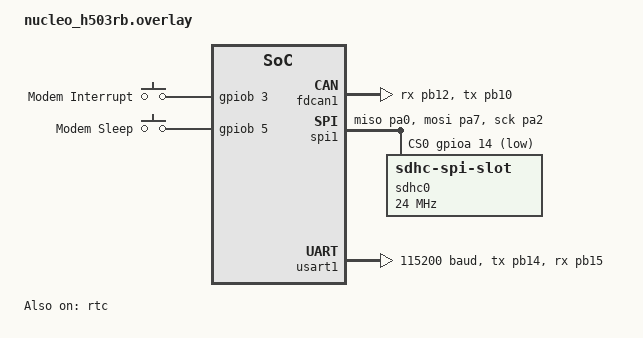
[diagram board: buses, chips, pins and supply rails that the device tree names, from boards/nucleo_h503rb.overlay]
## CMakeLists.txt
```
cmake_minimum_required(VERSION 3.20.0)

set(BOARD nucleo_h503rb)
set(CMAKE_EXPORT_COMPILE_COMMANDS TRUE)
set(CMAKE_C_STANDARD 11)

option(MC_LTO "Enable LTO for the main application" ON)
set(MC_ControllerName "MC_1" CACHE STRING "Controller Name")
set(MC_ServerAddress "tcp://94.130.24.30:1883" CACHE STRING "Remote server address")

find_package(Zephyr)
project(MasterController)
set_property(TARGET app PROPERTY C_STANDARD 23)

# NanoPB for protobuf code generation
list(APPEND CMAKE_MODULE_PATH ${ZEPHYR_BASE}/modules/nanopb)
include(nanopb)

if(MC_LTO)
	set_property(TARGET app PROPERTY INTERPROCEDURAL_OPTIMIZATION TRUE)
endif()

# Compile protobuf into C headers
zephyr_nanopb_sources(app ./Protobuf-FYP/proto/data.proto)
zephyr_nanopb_sources(app ./Protobuf-FYP/proto/timestamp.proto)

target_include_directories(app PRIVATE
	./include/
	./include/upload_thread/
)

# Add defines for variable defined by CMake
target_compile_definitions(app PRIVATE CONTROLLER_NAME="${MC_ControllerName}")
target_compile_definitions(app PRIVATE SERVER_ADDR="${MC_ServerAddress}")

target_sources(app PRIVATE 
		    src/main.c
			  src/main_state.c
			  src/file_op.c
			  src/can.c
			  src/save_data_thread.c
			  src/message.c
			  src/sim7600_driver.c
			  src/upload_thread/upload_thread.c
			  src/upload_thread/upload_state.c
)
```

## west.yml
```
manifest:
  remotes:
    - name: zephyrproject-rtos
      url-base: https://github.com/zephyrproject-rtos
    - name: nanopb
      url-base: https://github.com/nanopb
    - name: private
      url-base: https://github.com/seasea128
  projects:
    - name: zephyr
      remote: zephyrproject-rtos
      revision: v4.0.0
      import:
        name-allowlist:
          - cmsis
          - hal_stm32
          - fatfs
    - name: nanopb
      remote: nanopb
      revision: 0.4.9.1
      path: modules/lib/nanopb
    - name: Protobuf-FYP
      remote: private
      path: MasterController/Protobuf-FYP
  self:
    path: MasterController
```

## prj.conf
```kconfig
# Peripherals
CONFIG_SPI=y
CONFIG_GPIO=y
CONFIG_FILE_SYSTEM=y
CONFIG_CAN=y
CONFIG_ARM_MPU=y
CONFIG_FPU=y
CONFIG_CONSOLE=y
CONFIG_SERIAL=y
CONFIG_UART_INTERRUPT_DRIVEN=y
CONFIG_RTC=y
CONFIG_RTC_LOG_LEVEL_DBG=y

# Stack protection
CONFIG_HW_STACK_PROTECTION=y

# Filesystem driver settings
CONFIG_FAT_FILESYSTEM_ELM=y
# CONFIG_MAIN_STACK_SIZE=2048
CONFIG_MAIN_STACK_SIZE=8192
CONFIG_DISK_ACCESS=y
#CONFIG_DISK_DRIVER_SDMMC=y

# 4G modem settings
CONFIG_NANOPB=y
CONFIG_BASE64=y
CONFIG_MODEM_MODULES=n
CONFIG_MODEM=n
CONFIG_MODEM_BACKEND_UART=n
CONFIG_MODEM_CHAT=n

# FDCAN settings
CONFIG_CAN_DEFAULT_BITRATE=500000
CONFIG_CAN_FD_MODE=n
#CONFIG_CAN_INIT_PRIORITY=80
#CONFIG_CAN_DEFAULT_BITRATE_DATA=1000000
#CONFIG_CAN_DEFAULT_BITRATE_DATA=0
#CONFIG_CAN_TRANSCEIVER_INIT_PRIORITY=45

# Experimental settings
CONFIG_TIMESLICING=y
CONFIG_TIMESLICE_SIZE=2
CONFIG_TIMESLICE_PRIORITY=0

# Logging
CONFIG_LOG=y
CONFIG_LOG_MODE_DEFERRED=n
CONFIG_LOG_MODE_IMMEDIATE=y
CONFIG_LOG_SIMPLE_MSG_OPTIMIZE=y
CONFIG_LOG_DEFAULT_LEVEL=3
CONFIG_LOG_BACKEND_SHOW_COLOR=n
CONFIG_LOG_INFO_COLOR_GREEN=n
CONFIG_LOG_DBG_COLOR_BLUE=n
CONFIG_LOG_OUTPUT_FORMAT_ISO8601_TIMESTAMP=n
#CONFIG_LOG_PROCESS_THREAD=y       # Enable log processing thread
#CONFIG_LOG_PROCESS_THREAD_STACK_SIZE=4096
#CONFIG_LOG_PROCESS_THREAD_PRIORITY=3
# CONFIG_UART_CONSOLE=y

# LTO settings (Reduce flash usage)
CONFIG_ISR_TABLES_LOCAL_DECLARATION=y
CONFIG_LTO=y

# Debugging config
CONFIG_STACK_USAGE=y
CONFIG_THREAD_NAME=y
CONFIG_STACK_SENTINEL=y
CONFIG_THREAD_STACK_INFO=y
CONFIG_THREAD_ANALYZER=y
CONFIG_LOG_MODE_MINIMAL=n
CONFIG_THREAD_ANALYZER_AUTO=y
CONFIG_THREAD_ANALYZER_AUTO_INTERVAL=10
# CONFIG_THREAD_ANALYZER_USE_LOG=y
```

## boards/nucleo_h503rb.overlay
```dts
/{
	chosen {
		zephyr,canbus = &fdcan1;
	};

	gpio_4g_modem {
		compatible = "gpio-keys";
		modem_interrupt: interrupt {
			gpios = <&gpiob 3 GPIO_ACTIVE_HIGH>;
			label = "Modem Interrupt";
		};
		modem_sleep: sleep {
			gpios = <&gpiob 5 GPIO_ACTIVE_HIGH>;
			label = "Modem Sleep";
		};
	};

	aliases {
		modem-interrupt = &modem_interrupt;
		modem-sleep = &modem_sleep;
		modem = &usart1;
		rtc = &rtc;
	};
};

&fdcan1 {
	pinctrl-0 = <&fdcan1_rx_pb12 &fdcan1_tx_pb10>;
	pinctrl-names = "default";
	status = "okay";
};

&spi1 {
	cs-gpios = <&gpioa 14 GPIO_ACTIVE_LOW>;
	pinctrl-0 = <&spi1_miso_pa0 &spi1_mosi_pa7 &spi1_sck_pa2>;
	pinctrl-names = "default";
	status = "okay";

	sdhc0: sdhc@0 {
		status = "okay";
		compatible = "zephyr,sdhc-spi-slot";
		reg = <0>;
		mmc {
			compatible = "zephyr,sdmmc-disk";
			disk-name = "SD";
			status = "okay";
		};
		spi-max-frequency = <24000000>;
	};
};

&clk_lsi {
	status = "okay";
};

&rtc {
	clocks = <&rcc STM32_CLOCK_BUS_APB3 0x200000>,
		 <&rcc STM32_SRC_LSI RTC_SEL(2)>;
	status = "okay";

	backup_regs {
		status = "okay";
	};
};

&pll {
	div-q = <5>;
};

// USART3 is already used for virtual serial via USB
&usart1 {
	pinctrl-0 = <&usart1_tx_pb14 &usart1_rx_pb15>;
	pinctrl-names = "default";
	fifo-enable;
	current-speed = <115200>;
	status = "okay";

	// Custom driver needed for SIM7600G?
	// modem: modem {
	// 	compatible = "simcom,sim7080";
	// 	mdm-power-gpios = <&gpiob 2 GPIO_ACTIVE_HIGH>;
	// 	status = "okay";

	// };
};
```

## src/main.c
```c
#include "Protobuf-FYP/proto/data.pb.h"
#include "main_state.h"
#include "upload_thread/upload_thread.h"
#include <can.h>
#include <ff.h>
#include <file_op.h>
#include <message.h>
#include <save_data_thread.h>
#include <sim7600_at_cmd.h>
#include <sim7600_driver.h>
#include <zephyr/device.h>
#include <zephyr/drivers/can.h>
#include <zephyr/drivers/gpio.h>
#include <zephyr/drivers/rtc.h>
#include <zephyr/fs/fs.h>
#include <zephyr/kernel.h>
#include <zephyr/logging/log.h>
#include <zephyr/logging/log_ctrl.h>
#include <zephyr/sd/sd_spec.h>
#include <zephyr/storage/disk_access.h>
#include <zephyr/sys/util.h>

LOG_MODULE_REGISTER(main, CONFIG_LOG_DEFAULT_LEVEL);

struct k_fifo save_data_fifo;

// CAN setup
CAN_MSGQ_DEFINE(distance_msgq, 400);
const struct device *const can_dev = DEVICE_DT_GET(DT_CHOSEN(zephyr_canbus));

const struct device *const rtc = DEVICE_DT_GET(DT_ALIAS(rtc));

static struct gpio_dt_spec button_gpio =
    GPIO_DT_SPEC_GET_OR(DT_ALIAS(sw0), gpios, {0});

void set_rtc_from_modem() {
    char resp[256] = {0};
    {
        char CNTP[128] = {0};
        snprintf(CNTP, sizeof(CNTP), AT_CNTP_SET, "pool.ntp.org");

        int ret = sim7600_send_at(CNTP, strlen(CNTP), resp, sizeof(resp),
                                  sim7600_resp_normal);
        if (ret != SIM7600_OK) {
            LOG_ERR("Cannot send AT_CNTP_SET: %d", ret);
            return;
        }
        LOG_INF("CNTP set response: %s", resp);
    }

    int ret = sim7600_send_at(AT_CNTP, sizeof(AT_CNTP), resp, sizeof(resp),
                              sim7600_resp_after_status);
    if (ret != SIM7600_OK) {
        LOG_ERR("Cannot send AT_CNTP: %d", ret);
        return;
    }
    LOG_INF("CNTP response: %s", resp);

    ret = sim7600_send_at(AT_CCLK, sizeof(AT_CCLK), resp, sizeof(resp),
                          sim7600_resp_normal);
    if (ret != SIM7600_OK) {
        LOG_ERR("Cannot send AT_CCLK: %d", ret);
        return;
    }

    if (strstr(resp, "OK") != NULL) {
        // OK is in string
        struct rtc_time new_time;
        memset(&new_time, 0, sizeof(struct rtc_time));

        // +CCLK: “08/11/28,12:30:35+32”
        // OK
        int timezone = 0;
        sscanf(resp, "+CCLK: \"%d/%d/%d,%d:%d:%d+%d\"OK", &new_time.tm_year,
               &new_time.tm_mon, &new_time.tm_mday, &new_time.tm_hour,
               &new_time.tm_min, &new_time.tm_sec, &timezone);

        new_time.tm_year += 2000 - 1900;
        new_time.tm_mon -= 1;
        ret = rtc_set_time(rtc, &new_time);
        LOG_INF("Set time success: %s, %d", resp, ret);
    } else {
        LOG_ERR("Cannot get current time from modem: %s, %d", resp, ret);
        return;
    }
}

int main(void) {
    LOG_INF("Initializing");
    int ret;
    main_state state;

    k_fifo_init(&save_data_fifo);

    // Initializing GPIO button on board
    ret = gpio_pin_configure_dt(&button_gpio, GPIO_INPUT);
    if (ret != 0) {
        LOG_ERR("Error %d: failed to configure %s pin %d", ret,
                button_gpio.port->name, button_gpio.pin);
        return 0;
    }

    LOG_INF("Initializing SIM7600");

    ret = sim7600_init(SERVER_ADDR, sizeof(SERVER_ADDR));
    if (ret != SIM7600_OK) {
        LOG_ERR("Error %d: Cannot initialize SIM7600", ret);
        return ret;
    }

    LOG_INF("Initialized SIM7600");

    // Initializing FDCAN
    ret = can_init(&distance_msgq, can_dev);
    if (ret != 0) {
        LOG_ERR("Error %d: failed to initialize CAN", ret);
        return 0;
    }
    LOG_INF("Initialized CAN");

    main_state_init(&state, &distance_msgq, NULL);
    LOG_INF("Initialized main_state");

    if (!device_is_ready(rtc)) {
        LOG_INF("RTC is not ready");
    }

    set_rtc_from_modem();

#ifdef RTC_TEST
    k_sleep(K_MSEC(4834));

    struct rtc_time tm;
    ret = rtc_get_time(rtc, &tm);
    if (ret < 0) {
        LOG_ERR("Cannot get time from RTC: %d", ret);
    } else {
        LOG_INF("RTC date and time: %04d-%02d-%02d %02d:%02d:%02d.%05d",
                tm.tm_year + 1900, tm.tm_mon + 1, tm.tm_mday, tm.tm_hour,
                tm.tm_min, tm.tm_sec, tm.tm_nsec);
    }
#endif

    LOG_INF("Button port: %s pin: %d", button_gpio.port->name, button_gpio.pin);

    bool button_state = false;

    // Use onboard button to exit loop so that the filesystem can be
    // unmounted for data safety.
    while (!button_state) {
        // Get button state
        button_state = gpio_pin_get_dt(&button_gpio);

        main_state_execute(&state);
    }

    file_op_unmount_disk();
    LOG_INF("Shutting down sim7600");
    sim7600_close();
    LOG_INF("Done shutting down sim7600");
}
```

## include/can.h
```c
#include "zephyr/device.h"
#include "zephyr/kernel.h"

int can_init(struct k_msgq *message_queue, const struct device *can_def);
```

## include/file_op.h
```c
#ifndef FILE_OP_H_
#define FILE_OP_H_
#include "zephyr/fs/fs.h"
#include <ff.h>

int file_op_open_file(struct fs_file_t *file, char *file_name, fs_mode_t flags);

int file_op_get_count_in_dir(char *path, int *file_count);

int file_op_mount_disk();

int file_op_close_file(struct fs_file_t *file);

int file_op_write(char *str, size_t str_size);

int file_op_unmount_disk();

#endif // FILE_OP_H_
```

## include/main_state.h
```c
#ifndef MAIN_STATE_H_
#define MAIN_STATE_H_
#include "Protobuf-FYP/proto/data.pb.h"
#include "upload_state.h"
#include <zephyr/drivers/can.h>
#include <zephyr/fs/fs.h>

enum main_state {
    MAIN_STATE_DISK_UNMOUNTED = 0,
    MAIN_STATE_DISK_MOUNTED,
    MAIN_STATE_NEW_SESSION,
    MAIN_STATE_RECORD_DATA,
};

typedef struct main_state_s {
    controllerMessage_DataPoints dataPoints;
    controllerMessage_Measurement measurement;
    upload_state upload;
    struct can_frame can_message;
    struct fs_file_t file;
    struct k_msgq *can_msgq;
    struct k_msgq *upload_msgq;
    enum main_state state;
    uint16_t session_id;
    size_t upload_data_offset;
} main_state;

void main_state_init(main_state *state, struct k_msgq *can_msgq,
                     struct k_msgq *upload_msgq);
void main_state_execute(main_state *state);

#endif // MAIN_STATE_H_
```

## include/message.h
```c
#include "Protobuf-FYP/proto/data.pb.h"
#include <stdint.h>

typedef enum message_type_e {
    message_undefined = 0,
    message_measurement = 1,
    message_new_session = 2,
} message_type;

typedef struct {
    void *reserved;
    message_type msg_type;
    union {
        controllerMessage_Measurement measurement;
        int32_t session_id;
    } data;
} message;

message message_init();
```

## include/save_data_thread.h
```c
#ifndef SAVE_DATA_THREAD
#define SAVE_DATA_THREAD
#include "Protobuf-FYP/proto/data.pb.h"
#include <zephyr/fs/fs.h>
#include <zephyr/kernel.h>

void save_data_thread();

void write_data_points(controllerMessage_DataPoints *dataPoints,
                       struct fs_file_t *file, struct k_msgq *output_msgq);

void write_session(controllerMessage_Session *session, struct fs_file_t *file,
                   struct k_msgq *output_msgq);

#endif
```

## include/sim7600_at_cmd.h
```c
#ifndef SIM7600_AT_CMD_H_
#define SIM7600_AT_CMD_H_

// Init Commands
#define AT_CPIN "AT+CPIN?\r"
#define ATE "ATE0\r"

// Time Command
#define AT_CCLK "AT+CCLK?\r"
#define AT_CNTP_SET "AT+CNTP=\"%s\",0\r"
#define AT_CNTP "AT+CNTP\r"

// MQTT Commands
#define AT_MQTTSTART "AT+CMQTTSTART\r"
#define AT_MQTTACCQ "AT+CMQTTACCQ=%d, \"%.*s\"\r"
#define AT_MQTTWILLTOPIC                                                       \
    "AT+CMQTTWILLTOPIC=%d,%d\r" // Client index, length of topic
                                // Topic name on next line
#define AT_MQTTWILLMSG                                                         \
    "AT+CMQTTWILLMSG=%d,%d,%d\r" // Client index, length of topic, qos
                                 // Will messgae on next line

#define AT_MQTTCONNECT                                                         \
    "AT+CMQTTCONNECT=%d, \"%.*s\", %d, %d\r" // client index, server address,
                                             // keepalive, clean session
// Probably need username/password on
// the command or mTLS

#define AT_MQTTSUB                                                             \
    "AT+CMQTTSUB=%d,%d,%d\r" // Client index, length of topic, qos
                             // Topic to be subscribed on next line
#define AT_MQTTTOPIC "AT+CMQTTTOPIC=%d,%d\r" // Client index, length of topic
// Topic to be published on next line

#define AT_MQTTPAYLOAD                                                         \
    "AT+CMQTTPAYLOAD=%d,%d\r" // Client index, length of topic
                              // Topic to be published on next line

#define AT_MQTTPUB "AT+CMQTTPUB=%d,%d,%d\r" // Client index, qos, timeout

// Stop Commands
#define AT_MQTTDIS "AT+CMQTTDISC=%d,%d\r" // Client index, timeout
#define AT_MQTTREL "AT+CMQTTREL=%d\r"     // Client indes
#define AT_MQTTSTOP "AT+CMQTTSTOP\r"

#endif // SIM7600_AT_CMD_H_
```

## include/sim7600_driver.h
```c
#ifndef SIM7600_DRIVER_H_
#define SIM7600_DRIVER_H_
#include <stdbool.h>
#include <stddef.h>
#include <stdint.h>

#define BUFFER_SIZE 256

typedef enum SIM7600_RESULT_E {
    SIM7600_OK,
    SIM7600_INIT_ERROR,
    SIM7600_RX_TIMEOUT,
    SIM7600_RESP_NULL,
    SIM7600_NO_NEW_DATA,
    SIM7600_OK_DETECTED,
    SIM7600_RESP_TYPE_UNDEFINED
} SIM7600_RESULT;

typedef struct sim7600_msgq_item_s {
    char msg[BUFFER_SIZE];
} sim7600_msgq_item;

typedef enum sim7600_resp_type_e {
    sim7600_resp_undefined = 0,
    sim7600_resp_normal = 1,
    sim7600_resp_after_status = 2,
    sim7600_resp_no_parse = 3
} sim7600_resp_type;

SIM7600_RESULT sim7600_send_at(char *cmd, size_t size_cmd, char *output,
                               size_t size_out, sim7600_resp_type resp_type);

SIM7600_RESULT sim7600_publish_mqtt(uint8_t *payload, size_t size_payload);

SIM7600_RESULT sim7600_set_topic_publish_mqtt(char *topic, size_t size_topic,
                                              uint8_t *payload,
                                              size_t size_payload);

SIM7600_RESULT sim7600_set_topic_mqtt(char *topic, size_t size_topic);

SIM7600_RESULT sim7600_close();

SIM7600_RESULT
sim7600_init(char *mqtt_address, size_t addr_size);

SIM7600_RESULT sim7600_check_resp(char *output, size_t output_size,
                                  bool print_resp);

#endif // SIM7600_DRIVER_H_
```

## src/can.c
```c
#include "zephyr/drivers/can.h"
#include "zephyr/device.h"
#include "zephyr/logging/log.h"

LOG_MODULE_DECLARE(main, CONFIG_LOG_DEFAULT_LEVEL);

extern struct k_msgq distance_msgq;

void can_callback(const struct device *dev, struct can_frame *frame,
                  void *user_data) {
    int ret = k_msgq_put(&distance_msgq, frame, K_NO_WAIT);
    if (ret != 0) {
        LOG_ERR("CAN message queue overrun: %d", ret);
    }
}

int can_init(struct k_msgq *message_queue, const struct device *can_def) {
    if (!device_is_ready(can_def)) {
        LOG_ERR("FDCAN1 is not ready");
        return 12;
    }

    int ret = can_start(can_def);
    if (ret != 0) {
        LOG_ERR("Cannot start FDCAN1: %d", ret);
        return ret;
    }

    const struct can_filter filter = {.flags = 0U, .id = 0x000, .mask = 0x03F8};

    int filter_id = can_add_rx_filter_msgq(can_def, message_queue, &filter);

    // int filter_id = can_add_rx_filter(can_def, &can_callback, NULL,
    // &my_filter);

    if (filter_id < 0) {
        LOG_ERR("Unable to add rx filter [%d]", filter_id);
    }

    LOG_INF("Finished initializing CAN");
    return ret;
}
```

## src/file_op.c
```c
#include "zephyr/fs/fs.h"
#include "zephyr/fs/fs_interface.h"
#include "zephyr/logging/log.h"
#include <file_op.h>
#include <stdio.h>
#include <string.h>

LOG_MODULE_REGISTER(file_op, CONFIG_LOG_DEFAULT_LEVEL);

// SD setup
#define DISK_DRIVE_NAME "SD"

#define DISK_MOUNT_PT "/" DISK_DRIVE_NAME ":"

#define FS_RET_OK FR_OK
#define MAX_PATH 128

static FATFS fat_fs;

static const char *disk_mount_pt = DISK_MOUNT_PT;
static struct fs_mount_t mp = {
    .type = FS_FATFS, .fs_data = &fat_fs, .mnt_point = DISK_MOUNT_PT};

static int get_path(char *file_path, size_t path_size, char *file_name) {
    strncpy(file_path, disk_mount_pt, path_size);

    int mountLength = strlen(disk_mount_pt);
    if (file_name != NULL) {
        file_path[mountLength++] = '/';
        file_path[mountLength] = 0;
        strcat(&file_path[mountLength], file_name);
    }

    LOG_INF("File path: %s", file_path);
    LOG_INF("Mount point: %s", mp.mnt_point);
}

int file_op_open_file(struct fs_file_t *file, char *file_name,
                      fs_mode_t flags) {
    char file_path[MAX_PATH];
    fs_file_t_init(file);
    get_path(file_path, sizeof(file_path), file_name);

    int ret = fs_open(file, file_path, FS_O_RDWR | FS_O_CREATE | flags);
    if (ret != 0) {
        LOG_ERR("Cannot open file: %d", ret);
        return ret;
    }
    return ret;
}

int file_op_get_count_in_dir(char *path, int *file_count) {
    struct fs_dir_t dir;
    char file_path[MAX_PATH] = {0};
    get_path(file_path, sizeof(file_path), path);
    fs_dir_t_init(&dir);
    int ret = fs_opendir(&dir, file_path);
    if (ret != 0) {
        LOG_ERR("Cannot open directory: %d", ret);
        return ret;
    }

    struct fs_dirent entry;
    int count = 0;
    while (true) {
        ret = fs_readdir(&dir, &entry);

        if (ret || entry.name[0] == 0) {
            break;
        }

        count++;
    }

    ret = fs_closedir(&dir);
    if (ret != 0) {
        LOG_ERR("Cannot close directory: %d", ret);
        return ret;
    }

    *file_count = count;
    return ret;
}

int file_op_close_file(struct fs_file_t *file) {
    static char file_path[128];

    int ret = fs_sync(file);
    if (ret != 0) {
        LOG_ERR("Cannot sync file: %d", ret);
        return ret;
    }

    LOG_INF("Closing file: %s", file_path);
    ret = fs_close(file);
    if (ret != 0) {
        LOG_ERR("Cannot close file: %d", ret);
        return ret;
    }
    return ret;
}

int file_op_write(char *str, size_t str_size) {
    static struct fs_file_t open_file;
    int write_size = fs_write(&open_file, str, str_size);
    if (write_size < 0) {
        LOG_ERR("Cannot write file: %d", write_size);
        return write_size;
    }
    return write_size;
}

int file_op_mount_disk() {
    LOG_INF("Mounting disk");
    int ret = fs_mount(&mp);

    if (ret == FS_RET_OK) {
        LOG_INF("Disk mounted.");
        return 0;
    } else {
        LOG_ERR("Error mounting disk.");
        return ret;
    }
}

int file_op_unmount_disk() {
    LOG_INF("Unmounting fs");
    int ret = fs_unmount(&mp);
    if (ret != 0) {
        LOG_ERR("Cannot unmount file: %d", ret);
        return ret;
    }
    return ret;
}
```

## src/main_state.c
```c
#include "main_state.h"
#include "Protobuf-FYP/proto/data.pb.h"
#include "file_op.h"
#include "save_data_thread.h"
#include "zephyr/drivers/rtc.h"
#include <time.h>
#include <zephyr/kernel.h>
#include <zephyr/logging/log.h>
#include <zephyr/sys/timeutil.h>

// LOG_MODULE_REGISTER(main_state, CONFIG_LOG_DEFAULT_LEVEL);
LOG_MODULE_REGISTER(main_state, LOG_LEVEL_INF);

extern const struct device *const rtc;

inline static void record_data(main_state *state) {
    int ret = k_msgq_get(state->can_msgq, &state->can_message, K_NO_WAIT);
    if (ret == -EAGAIN || ret == -ENOMSG) {
        return;
    } else if (ret < 0) {
        LOG_WRN("Cannot get message from queue: %d", ret);
        return;
    }

    // LOG_INF("Message size: %d", state->can_message.dlc);

    if (state->can_message.dlc != 2) {
        LOG_ERR("Error: Data length is not 2, continuing [Length: %d]",
                state->can_message.dlc);
        return;
    }

    // LOG_INF("Received distance: %u, Sensor ID: 0x%02x",
    //         *(uint16_t *)(&state->can_message.data), state->can_message.id);

    switch (state->can_message.id) {
    case 0x01:
        state->measurement.distance_lt =
            *(uint16_t *)(&state->can_message.data);
        break;
    case 0x02:
        state->measurement.distance_rt =
            *(uint16_t *)(&state->can_message.data);
        break;
    case 0x03:
        state->measurement.distance_lb =
            *(uint16_t *)(&state->can_message.data);
        break;
    case 0x04:
        state->measurement.distance_rb =
            *(uint16_t *)(&state->can_message.data);
        break;
    }

    state->dataPoints.measurement[state->dataPoints.measurement_count++] =
        state->measurement;

    if (state->dataPoints.measurement_count > 30) {
        // TODO: Get timestamp and location data
        struct rtc_time current_time;
        rtc_get_time(rtc, &current_time);
        struct tm *time = rtc_time_to_tm(&current_time);
        int64_t unix_timestamp = timeutil_timegm(time);
        if (unix_timestamp != -1) {
            state->dataPoints.timestamp.seconds = unix_timestamp;
            state->dataPoints.timestamp.nanos = current_time.tm_nsec;
            state->dataPoints.has_timestamp = true;
        }
        // TODO: Write data
        state->dataPoints.measurement_count = 30;
        LOG_WRN("Saving/Sending new data");
        int ret = fs_seek(&state->file, 0, FS_SEEK_END);
        if (ret != 0) {
            LOG_ERR("Cannot seek file to end for writing: %d", ret);
            return;
        }
        write_data_points(&state->dataPoints, &state->file, state->upload_msgq);
    }
}

inline static void new_session(main_state *state) {
    if (state->file.mp != NULL) {
        // TODO: Write closing session packet and close file
        controllerMessage_Session session = controllerMessage_Session_init_zero;
        write_session(&session, &state->file, state->upload_msgq);
        int ret = file_op_close_file(&state->file);
        if (ret != 0) {
            LOG_ERR("Cannot close file: %d", ret);
            return;
        }
    }
    state->session_id++;
    state->dataPoints.session_id = state->session_id;

    char file_name[128] = {0};

    snprintf(file_name, sizeof(file_name), "%s-%d", CONTROLLER_NAME,
             state->session_id);

    int ret = file_op_open_file(&state->file, file_name, 0);
    if (ret != 0) {
        LOG_ERR("Cannot open file: %d", ret);
        return;
    }

    strncpy(state->dataPoints.controller_id, CONTROLLER_NAME,
            sizeof(state->dataPoints.controller_id));

    // TODO: Write start session packet
    controllerMessage_Session session = controllerMessage_Session_init_zero;
    strncpy(session.controller_id, CONTROLLER_NAME,
            sizeof(session.controller_id));
    session.isActive = true;
    session.session_id = state->session_id;
    // TODO: Add timestamp

    ret = fs_seek(&state->file, 0, FS_SEEK_END);
    if (ret != 0) {
        LOG_ERR("Cannot seek file to end for writing: %d", ret);
        return;
    }
    write_session(&session, &state->file, state->upload_msgq);
    state->state = MAIN_STATE_RECORD_DATA;
}

void main_state_init(main_state *state, struct k_msgq *can_msgq,
                     struct k_msgq *upload_msgq) {
    fs_file_t_init(&state->file);
    state->can_msgq = can_msgq;
    state->upload_msgq = upload_msgq;
    state->state = MAIN_STATE_DISK_UNMOUNTED;
    memset(&state->measurement, 0, sizeof(controllerMessage_Measurement));
    memset(&state->dataPoints, 0, sizeof(controllerMessage_DataPoints));
    upload_state_init(&state->upload, upload_msgq);
}

void main_state_execute(main_state *state) {
    switch (state->state) {
    case MAIN_STATE_DISK_MOUNTED: {
        // TODO: wait until new session is triggered
        LOG_WRN("Disk mounted, starting new session");
        state->state = MAIN_STATE_NEW_SESSION;
        break;
    }
    case MAIN_STATE_DISK_UNMOUNTED: {
        LOG_WRN("Disk unmounted, mounting disk");
        int ret = file_op_mount_disk();
        if (ret < 0) {
            LOG_ERR("Cannot mount disk: %d", ret);
            return;
        }

        int file_count;
        ret = file_op_get_count_in_dir("", &file_count);
        if (ret < 0) {
            LOG_ERR("Cannot get file count: %d", ret);
            return;
        }

        state->session_id = file_count;

        state->state = MAIN_STATE_DISK_MOUNTED;
        break;
    }
    case MAIN_STATE_NEW_SESSION: {
        LOG_WRN("Starting new session");
        new_session(state);
        upload_state_execute(&state->upload, &state->file);
        break;
    }
    case MAIN_STATE_RECORD_DATA: {
        record_data(state);
        upload_state_execute(&state->upload, &state->file);
        break;
    }
    }
}
```

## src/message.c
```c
#include "message.h"
#include "zephyr/types.h"
#include <assert.h>
#include <stdio.h>

const char to_string_template[] = "";
const size_t to_string_size = sizeof(to_string_template);

// TODO: Remove this
message message_init() {
    message msg = {};
    return msg;
}

int message_to_string(message *msg, char *buffer, const size_t buf_length) {
    return snprintf(buffer, buf_length, to_string_template, msg);
}
```

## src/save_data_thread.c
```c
#include "file_op.h"
#include "message.h"
#include "pb_encode.h"
#include "sim7600_driver.h"
#include "zephyr/logging/log.h"
#include <stdbool.h>
#include <string.h>
#include <zephyr/kernel.h>
#include <zephyr/sys/base64.h>

LOG_MODULE_REGISTER(save_data_thread, LOG_LEVEL_WRN);

#define DISK_DRIVE_NAME "SD"

#define DISK_MOUNT_PT "/" DISK_DRIVE_NAME ":"

extern struct k_fifo save_data_fifo;

void write_data_points(controllerMessage_DataPoints *dataPoints,
                       struct fs_file_t *file, struct k_msgq *output_msgq) {
    controllerMessage_Packet packet = {
        .type = controllerMessage_PacketType_DATA,
        .has_data = true,
        .data = *dataPoints,
        .has_session = false,
        .session = controllerMessage_Session_init_zero};
    uint8_t buffer[controllerMessage_Packet_size] = {0};
    pb_ostream_t stream = pb_ostream_from_buffer(buffer, sizeof(buffer));
    bool result = pb_encode(&stream, &controllerMessage_Packet_msg, &packet);
    if (!result) {
        LOG_ERR("Cannot create protobuf message: %s", PB_GET_ERROR(&stream));
        return;
    }
    size_t base64_len;
    base64_encode(NULL, 0, &base64_len, buffer, stream.bytes_written);
    LOG_WRN("Base64 length: %d", base64_len);

    // Convert to Base64
    char base64_out[base64_len + 2];
    memset(base64_out, 0, sizeof(base64_out));
    int ret = base64_encode(base64_out, sizeof(base64_out), &base64_len, buffer,
                            stream.bytes_written);
    if (ret) {
        LOG_ERR("Base64 encoding failed: %d", ret);
        return;
    }

    base64_out[base64_len++] = '\n';

    LOG_INF("Data point packet: %.*s", base64_len, base64_out);
    LOG_INF("Data point packet size: %d", base64_len);
    LOG_HEXDUMP_INF(base64_out, base64_len, "Packet in hex");

    // Write to SD card
    ret = fs_seek(file, 0, FS_SEEK_END);
    if (ret != 0) {
        LOG_ERR("Cannot seek to end of file: %d", ret);
        goto cleanup;
    }

    ret = fs_write(file, base64_out, base64_len);
    if (ret < 0) {
        LOG_ERR("Cannot write to file: %d", ret);
        goto cleanup;
    }

    if (output_msgq != NULL) {
        int msgq_result = k_msgq_put(output_msgq, base64_out, K_NO_WAIT);
        if (msgq_result != 0) {
            LOG_ERR("Cannot put message into queue: %d", msgq_result);
        }
    }

    ret = fs_sync(file);
    if (ret < 0) {
        LOG_ERR("Cannot sync fs: %d", ret);
        return;
    }

cleanup:
    // Clear struct
    // memset(&dataPoints->measurement, 0,
    //       sizeof(controllerMessage_Measurement) *
    //           sizeof(dataPoints->measurement));
    dataPoints->measurement_count = 0;
}

void write_session(controllerMessage_Session *session, struct fs_file_t *file,
                   struct k_msgq *output_msgq) {
    controllerMessage_Packet packet = {
        .type = controllerMessage_PacketType_SESSION,
        .has_data = false,
        .data = controllerMessage_DataPoints_init_zero,
        .has_session = true,
        .session = *session};
    uint8_t buffer[controllerMessage_Packet_size] = {0};
    pb_ostream_t stream = pb_ostream_from_buffer(buffer, sizeof(buffer));
    bool result = pb_encode(&stream, &controllerMessage_Packet_msg, &packet);
    if (!result) {
        LOG_ERR("Cannot create protobuf message: %s", PB_GET_ERROR(&stream));
        return;
    }
    size_t base64_len;
    base64_encode(NULL, 0, &base64_len, buffer, stream.bytes_written);
    LOG_INF("Base64 length: %d", base64_len);

    // Convert to Base64
    char base64_out[base64_len + 2];
    memset(base64_out, 0, sizeof(base64_out));
    int ret = base64_encode(base64_out, sizeof(base64_out), &base64_len, buffer,
                            stream.bytes_written);
    if (ret) {
        LOG_ERR("Base64 encoding failed: %d", ret);
        return;
    }

    LOG_HEXDUMP_INF(base64_out, strlen(base64_out),
                    "Packet in hex before newline");

    LOG_INF("Length before inc: %d", base64_len);
    base64_out[base64_len++] = '\n';
    LOG_INF("Length after inc: %d", base64_len);

    LOG_HEXDUMP_INF(base64_out, strlen(base64_out) + 4,
                    "Packet in hex after newline");

    LOG_WRN("Session packet: %.*s", base64_len, base64_out);
    LOG_HEXDUMP_INF(base64_out, base64_len, "Packet in hex");

    // Write to SD card
    ret = fs_seek(file, 0, FS_SEEK_END);
    if (ret != 0) {
        LOG_ERR("Cannot seek to end of file: %d", ret);
        return;
    }

    ret = fs_write(file, base64_out, base64_len);
    if (ret < 0) {
        LOG_ERR("Cannot write to file: %d", ret);
        return;
    }

    if (output_msgq != NULL) {
        int msgq_result = k_msgq_put(output_msgq, base64_out, K_NO_WAIT);
        if (msgq_result != 0) {
            LOG_ERR("Cannot put message into queue: %d", msgq_result);
        }
    }

    ret = fs_sync(file);
    if (ret < 0) {
        LOG_ERR("Cannot sync fs: %d", ret);
        return;
    }
}

// void save_data_thread() {
//     LOG_INF("Save Data Thread started");
//
//     struct fs_file_t file;
//     fs_file_t_init(&file);
//     // message msg;
//     controllerMessage_Session session = controllerMessage_Session_init_zero;
//     strncpy(session.controller_id, CONTROLLER_NAME,
//             sizeof(session.controller_id));
//
//     while (true) {
//         message msg = *(message *)k_fifo_get(&save_data_fifo, K_FOREVER);
//
//         switch (msg.msg_type) {
//         case message_measurement: {
//             // LOG_INF("Measurement data received");
//             dataPoints.measurement[dataPoints.measurement_count++] =
//                 msg.data.measurement;
//             if (dataPoints.measurement_count >= 10) {
//                 // LOG_INF("Enough message logged, saving to disk");
//                 if (strlen(dataPoints.controller_id) == 0) {
//                     strncpy(dataPoints.controller_id, CONTROLLER_NAME,
//                             sizeof(dataPoints.controller_id));
//                 }
//                 write_data_points(&dataPoints, &file, NULL);
//             }
//             break;
//         }
//         case message_new_session: {
//             LOG_INF("New session message received");
//
//             if (dataPoints.measurement_count != 0) {
//                 write_data_points(&dataPoints, &file, NULL);
//             }
//
//             char file_name[128] = {0};
//             snprintf(file_name, sizeof(file_name), "%s-%d.txt",
//             CONTROLLER_NAME,
//                      msg.data.session_id);
//
//             if (file.filep != NULL) {
//                 LOG_INF("File is not null");
//                 session.isActive = false;
//                 // TODO: Add timestamp
//                 session.timestamp.nanos = 0;
//                 session.timestamp.seconds = 0;
//                 write_session(&session, &file, NULL);
//                 file_op_close_file(&file);
//             }
//
//             session.session_id = msg.data.session_id;
//             session.isActive = true;
//             // TODO: Add timestamp
//             session.timestamp.nanos = 0;
//             session.timestamp.seconds = 0;
//
//             file_op_open_file(&file, file_name, FS_O_APPEND);
//             LOG_INF("Opened new file");
//             write_session(&session, &file, NULL);
//             break;
//         }
//         case message_undefined: {
//             LOG_ERR("Undefined message received");
//             break;
//         }
//         }
//     }
// }
```
